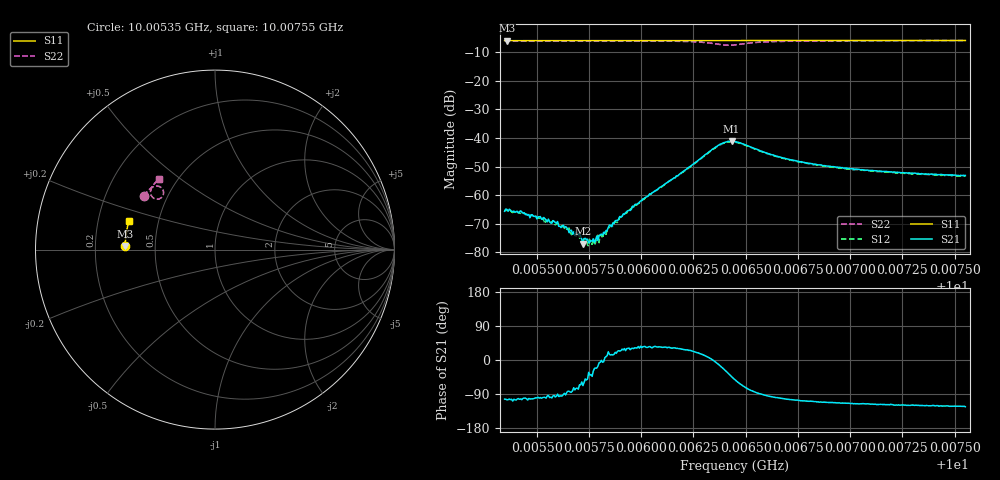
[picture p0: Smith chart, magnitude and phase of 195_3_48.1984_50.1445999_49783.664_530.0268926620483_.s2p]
#  HZ  S  RI  R  50.00
! Rohde & Schwarz Vector Network Analyzer
! Rohde-Schwarz,ZNB20-2Port,1311601062101988,3.16
! Created: UTC 3/20/2024, 11:44:48 AM
! freq[Hz]  re:S11  im:S11  re:S21  im:S21  re:S12  im:S12  re:S22  im:S22
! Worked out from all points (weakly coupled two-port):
!   401 points, 10.00535 GHz to 10.00755 GHz, reference 50 ohm
!   highest |S21| = -41.15 dB at 10.00643 GHz (marker M1); lowest = -76.9 dB at 10.00572 GHz (marker M2)
!   lowest |S11| = -6.0 dB at 10.00536 GHz (marker M3), VSWR 3.00, Z = 16.7 + j0.927 ohm
!   |S11| at or under -10 dB: nowhere
!   |S22| runs from -7.6 to -6.0 dB; largest |S21 - S12| = 0.00051
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1.0005347e10  -0.5 0.0201  -0.000121 -0.000511  -9.07e-05 -0.000508  -0.3962 0.2985
1.0005358e10  -0.4998 0.0208  -0.000147 -0.000546  -0.000122 -0.000525  -0.3959 0.2991
1.000543e10  -0.4999 0.0255  -0.000128 -0.00049  -8.53e-05 -0.000455  -0.3929 0.3034
1.0005562e10  -0.4997 0.0341  -5.39e-05 -0.00034  -1.7e-05 -0.000347  -0.3869 0.3114
1.0005589e10  -0.4994 0.036  -4.38e-05 -0.000331  -6.23e-06 -0.000302  -0.3855 0.313
1.00057e10  -0.4992 0.0432  4.68e-05 -0.000201  9.3e-05 -0.0002  -0.3803 0.3197
1.0005716e10  -0.4991 0.0442  8.96e-05 -0.000143  7.47e-05 -0.000153  -0.3793 0.3208
1.0005722e10  -0.4993 0.0445  5.45e-05 -0.000132  8.47e-05 -0.000137  -0.3791 0.3212
1.0005755e10  -0.499 0.0466  0.000117 -9.78e-05  0.000133 -9.98e-05  -0.3773 0.3231
1.0005788e10  -0.4988 0.0489  0.000179 -7.02e-05  0.000186 -4.56e-05  -0.3754 0.3252
1.0005799e10  -0.4988 0.0496  0.000195 -2.64e-05  0.000146 -2.35e-05  -0.375 0.3261
1.000581e10  -0.4987 0.0502  0.000209 -3.52e-06  0.0002 -2.07e-05  -0.3743 0.3266
1.0005865e10  -0.4985 0.0539  0.000321 7.6e-05  0.000264 0.000126  -0.3709 0.3302
1.0005948e10  -0.4979 0.0592  0.000482 0.000246  0.000455 0.000341  -0.3652 0.3358
1.0006085e10  -0.4971 0.0682  0.0011 0.000757  0.00107 0.00079  -0.3528 0.3455
1.0006361e10  -0.4943 0.0857  0.00705 -0.000914  0.00694 -0.000555  -0.2886 0.3296
1.0006433e10  -0.4936 0.0898  0.00632 -0.00607  0.00646 -0.00567  -0.3042 0.2858
1.0006449e10  -0.4935 0.0907  0.00528 -0.00682  0.00551 -0.00643  -0.3149 0.2816
1.0006648e10  -0.4921 0.1034  -0.000762 -0.00474  -0.000546 -0.0047  -0.3593 0.3243
1.0006818e10  -0.4901 0.1143  -0.00116 -0.00336  -0.000982 -0.0033  -0.352 0.3466
1.0007188e10  -0.4849 0.1376  -0.00122 -0.00226  -0.00107 -0.0023  -0.3326 0.373
1.0007551e10  -0.4787 0.1604  -0.00121 -0.00184  -0.00106 -0.00186  -0.3139 0.3921
